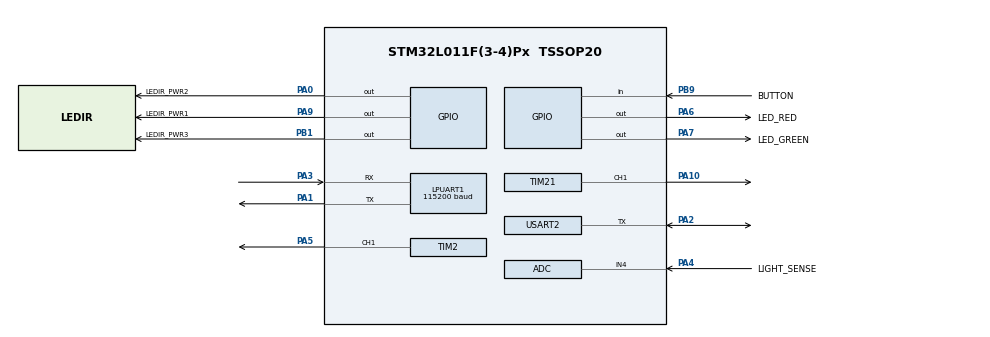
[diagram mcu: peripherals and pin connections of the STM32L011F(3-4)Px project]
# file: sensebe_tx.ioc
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LPUART1.BaudRate=115200
LPUART1.WordLength=UART_WORDLENGTH_8B
Mcu.Family=STM32L0
Mcu.Name=STM32L011F(3-4)Px
Mcu.Package=TSSOP20
PA0-CK_IN.GPIO_Label=LEDIR_PWR2
PA0-CK_IN.Signal=GPIO_Output
PA1.Mode=Asynchronous
PA1.Signal=LPUART1_TX
PA10.Signal=S_TIM21_CH1
PA13.Mode=Serial_Wire
PA13.Signal=SYS_SWDIO
PA14.Mode=Serial_Wire
PA14.Signal=SYS_SWCLK
PA2.Mode=Half_duplex(single_wire_mode)
PA2.Signal=USART2_TX
PA3.Mode=Asynchronous
PA3.Signal=LPUART1_RX
PA4.GPIO_Label=LIGHT_SENSE
PA4.Mode=IN4
PA4.Signal=ADC_IN4
PA5.Signal=S_TIM2_CH1
PA6.GPIO_Label=LED_RED
PA6.PinState=GPIO_PIN_RESET
PA6.Signal=GPIO_Output
PA7.GPIO_Label=LED_GREEN
PA7.Signal=GPIO_Output
PA9.GPIO_Label=LEDIR_PWR1
PA9.Signal=GPIO_Output
PB1.GPIO_Label=LEDIR_PWR3
PB1.Signal=GPIO_Output
PB9-BOOT0.GPIO_Label=BUTTON
PB9-BOOT0.Signal=GPIO_Input
PC14-OSC32_IN.Mode=LSE-External-Oscillator
PC14-OSC32_IN.Signal=RCC_OSC32_IN
PC15-OSC32_OUT.Mode=LSE-External-Oscillator
PC15-OSC32_OUT.Signal=RCC_OSC32_OUT
ProjectManager.HeapSize=0x200
ProjectManager.StackSize=0x400
ProjectManager.TargetToolchain=Makefile
RCC.AHBFreq_Value=4194000
RCC.APB1Freq_Value=4194000
RCC.APB1TimFreq_Value=4194000
RCC.APB2Freq_Value=4194000
RCC.APB2TimFreq_Value=4194000
RCC.HCLKFreq_Value=4194000
RCC.HSE_VALUE=8000000
RCC.HSI16_VALUE=16000000
RCC.HSI_VALUE=16000000
RCC.LptimClockSelection=RCC_LPTIM1CLKSOURCE_LSE
RCC.MSIClockRange=RCC_MSIRANGE_6
RCC.MSI_VALUE=4194000
RCC.PWR_Regulator_Voltage_Scale=PWR_REGULATOR_VOLTAGE_SCALE3
RCC.SYSCLKFreq_VALUE=4194000
RCC.VCOOutputFreq_Value=48000000
SH.S_TIM21_CH1.0=TIM21_CH1,PWM Generation1 CH1
SH.S_TIM2_CH1.0=TIM2_CH1,PWM Generation1 CH1
TIM2.Channel-PWM\ Generation1\ CH1=TIM_CHANNEL_1
TIM2.Period=21000
TIM2.Prescaler=19
TIM2.Pulse-PWM\ Generation1\ CH1=2100
TIM21.Channel-PWM\ Generation1\ CH1=TIM_CHANNEL_1
TIM21.Period=75
TIM21.Pulse-PWM\ Generation1\ CH1=7
USART2.VirtualMode-Half_duplex(single_wire_mode)=VM_ASYNC
VP_LPTIM1_VS_LPTIM_counterModeInternalClock.Mode=Counts__internal_clock_event_00
VP_RTC_VS_RTC_Activate.Mode=RTC_Enabled
VP_RTC_VS_RTC_Calendar.Mode=RTC_Calendar
VP_RTC_VS_RTC_WakeUp_intern.Mode=WakeUp
board=custom

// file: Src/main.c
/**
  ******************************************************************************
  * @file           : main.c
  * @brief          : Main program body
  ******************************************************************************
  ** This notice applies to any and all portions of this file
  * that are not between comment pairs USER CODE BEGIN and
  * USER CODE END. Other portions of this file, whether
  * inserted by the user or by software development tools
  * are owned by their respective copyright owners.
  *
  * COPYRIGHT(c) 2018 STMicroelectronics
  *
  * Redistribution and use in source and binary forms, with or without modification,
  * are permitted provided that the following conditions are met:
  *   1. Redistributions of source code must retain the above copyright notice,
  *      this list of conditions and the following disclaimer.
  *   2. Redistributions in binary form must reproduce the above copyright notice,
  *      this list of conditions and the following disclaimer in the documentation
  *      and/or other materials provided with the distribution.
  *   3. Neither the name of STMicroelectronics nor the names of its contributors
  *      may be used to endorse or promote products derived from this software
  *      without specific prior written permission.
  *
  * THIS SOFTWARE IS PROVIDED BY THE COPYRIGHT HOLDERS AND CONTRIBUTORS "AS IS"
  * AND ANY EXPRESS OR IMPLIED WARRANTIES, INCLUDING, BUT NOT LIMITED TO, THE
  * IMPLIED WARRANTIES OF MERCHANTABILITY AND FITNESS FOR A PARTICULAR PURPOSE ARE
  * DISCLAIMED. IN NO EVENT SHALL THE COPYRIGHT HOLDER OR CONTRIBUTORS BE LIABLE
  * FOR ANY DIRECT, INDIRECT, INCIDENTAL, SPECIAL, EXEMPLARY, OR CONSEQUENTIAL
  * DAMAGES (INCLUDING, BUT NOT LIMITED TO, PROCUREMENT OF SUBSTITUTE GOODS OR
  * SERVICES; LOSS OF USE, DATA, OR PROFITS; OR BUSINESS INTERRUPTION) HOWEVER
  * CAUSED AND ON ANY THEORY OF LIABILITY, WHETHER IN CONTRACT, STRICT LIABILITY,
  * OR TORT (INCLUDING NEGLIGENCE OR OTHERWISE) ARISING IN ANY WAY OUT OF THE USE
  * OF THIS SOFTWARE, EVEN IF ADVISED OF THE POSSIBILITY OF SUCH DAMAGE.
  *
  ******************************************************************************
  */
#include "main.h"
#include "adc.h"
#include "lptim.h"
#include "usart.h"
#include "rtc.h"
#include "tim.h"
#include "gpio.h"

/* USER CODE BEGIN PV */
/* Private variables ---------------------------------------------------------*/

/* USER CODE END PV */

static void LL_Init(void);
void SystemClock_Config(void);

/* USER CODE BEGIN PFP */
/* Private function prototypes -----------------------------------------------*/
void local_delay (uint32_t delay_mul);
void pwm_start ();
/* USER CODE END PFP */

int main(void)
{

  /* MCU Configuration----------------------------------------------------------*/

  /* Reset of all peripherals, Initializes the Flash interface and the Systick. */
  LL_Init();

  /* Configure the system clock */
  SystemClock_Config();

  /* Initialize all configured peripherals */
  MX_GPIO_Init();
  MX_ADC_Init();
  MX_LPTIM1_Init();
  MX_RTC_Init();
  MX_TIM21_Init();
  MX_TIM2_Init();
  MX_LPUART1_UART_Init();
  MX_USART2_UART_Init();
  /* USER CODE BEGIN 2 */
  LL_GPIO_TogglePin (LED_GREEN_GPIO_Port, LED_GREEN_Pin);
  local_delay(20000);
  LL_GPIO_TogglePin (LED_GREEN_GPIO_Port, LED_GREEN_Pin);

  LL_PWR_EnableLowPowerRunMode();
  LL_PWR_EnterLowPowerRunMode();
  LL_PWR_SetRegulModeLP(LL_PWR_REGU_LPMODES_LOW_POWER);
  LL_PWR_SetPowerMode(LL_PWR_MODE_STANDBY);

  LL_GPIO_SetOutputPin (LEDIR_PWR1_GPIO_Port, LEDIR_PWR1_Pin);
  LL_GPIO_SetOutputPin (LEDIR_PWR2_GPIO_Port, LEDIR_PWR2_Pin);
  pwm_start ();
  /* USER CODE END 2 */

  /* Infinite loop */
  while (1)
  {

  }

}
static void LL_Init(void)
{

  LL_APB2_GRP1_EnableClock(LL_APB2_GRP1_PERIPH_SYSCFG);
  LL_APB1_GRP1_EnableClock(LL_APB1_GRP1_PERIPH_PWR);

  /* System interrupt init*/
  /* SVC_IRQn interrupt configuration */
  NVIC_SetPriority(SVC_IRQn, 0);
  /* PendSV_IRQn interrupt configuration */
  NVIC_SetPriority(PendSV_IRQn, 0);
  /* SysTick_IRQn interrupt configuration */
  NVIC_SetPriority(SysTick_IRQn, 0);

}

void SystemClock_Config(void)
{

  LL_FLASH_SetLatency(LL_FLASH_LATENCY_0);

  if(LL_FLASH_GetLatency() != LL_FLASH_LATENCY_0)
  {
  Error_Handler();
  }
  LL_PWR_SetRegulVoltageScaling(LL_PWR_REGU_VOLTAGE_SCALE3);

  LL_RCC_LSI_Enable();

   /* Wait till LSI is ready */
  while(LL_RCC_LSI_IsReady() != 1)
  {

  }
  LL_RCC_MSI_Enable();

   /* Wait till MSI is ready */
  while(LL_RCC_MSI_IsReady() != 1)
  {

  }
  LL_RCC_MSI_SetRange(LL_RCC_MSIRANGE_6);

  LL_RCC_MSI_SetCalibTrimming(0);

  LL_PWR_EnableBkUpAccess();

  LL_RCC_ForceBackupDomainReset();

  LL_RCC_ReleaseBackupDomainReset();

  LL_RCC_LSE_SetDriveCapability(LL_RCC_LSEDRIVE_LOW);

  LL_RCC_LSE_Enable();

   /* Wait till LSE is ready */
  while(LL_RCC_LSE_IsReady() != 1)
  {

  }
  LL_RCC_SetRTCClockSource(LL_RCC_RTC_CLKSOURCE_LSI);

  LL_RCC_EnableRTC();

  LL_RCC_SetAHBPrescaler(LL_RCC_SYSCLK_DIV_1);

  LL_RCC_SetAPB1Prescaler(LL_RCC_APB1_DIV_1);

  LL_RCC_SetAPB2Prescaler(LL_RCC_APB2_DIV_1);

  LL_RCC_SetSysClkSource(LL_RCC_SYS_CLKSOURCE_MSI);

   /* Wait till System clock is ready */
  while(LL_RCC_GetSysClkSource() != LL_RCC_SYS_CLKSOURCE_STATUS_MSI)
  {

  }
  LL_Init1msTick(4194000);

  LL_SYSTICK_SetClkSource(LL_SYSTICK_CLKSOURCE_HCLK);

  LL_SetSystemCoreClock(4194000);

  LL_RCC_SetUSARTClockSource(LL_RCC_USART2_CLKSOURCE_PCLK1);

  LL_RCC_SetLPUARTClockSource(LL_RCC_LPUART1_CLKSOURCE_PCLK1);

  LL_RCC_SetLPTIMClockSource(LL_RCC_LPTIM1_CLKSOURCE_LSE);

  /* SysTick_IRQn interrupt configuration */
  NVIC_SetPriority(SysTick_IRQn, 0);
}

/* USER CODE BEGIN 4 */
void local_delay (uint32_t delay_mul)
{
    for(uint32_t i = 0; i < delay_mul*10; i++)
        for(uint32_t j=0; j<256000; j++)
            for(uint32_t k = 0; k < 100000; k++)
            {

            }
}

void pwm_start ()
{
    LL_TIM_CC_EnableChannel (TIM21, LL_TIM_CHANNEL_CH1);
    LL_TIM_CC_EnableChannel (TIM2, LL_TIM_CHANNEL_CH1);
    LL_TIM_EnableCounter (TIM21);
    LL_TIM_EnableCounter (TIM2);
}
/* USER CODE END 4 */

void _Error_Handler(char *file, int line)
{
  while(1)
  {
  }
}

/************************ (C) COPYRIGHT STMicroelectronics *****END OF FILE****/
